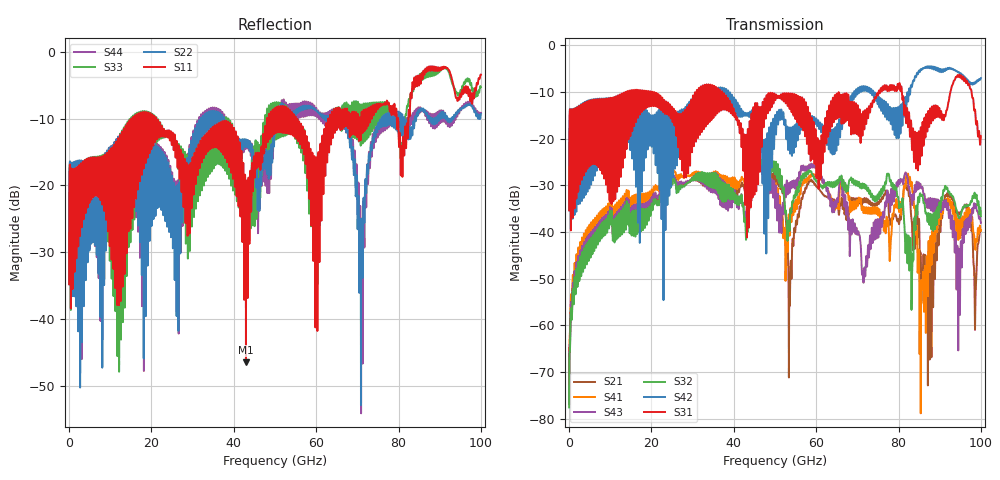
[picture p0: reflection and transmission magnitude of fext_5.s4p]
# Hz S RI R 50
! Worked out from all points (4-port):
!   10000 points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, 10 MHz to 100 GHz, reference 50 ohm
!   strongest paths, dB at 10 MHz, 25.01 GHz, 50.01 GHz, 75.01 GHz, 100 GHz:
!     S31: -35.3, -14.2, -11.6, -10.7, -19.5
!     S42: -35.3, -14.4, -15.0, -11.9, -7.0
!     S32: -77.6, -29.5, -27.6, -32.1, -36.6
!     S43: -76.9, -28.7, -33.9, -39.7, -38.0
!     S41: -75.8, -27.8, -31.5, -35.9, -39.6
!     S21: -76.8, -29.5, -29.2, -33.5, -39.6
!   lowest |S11| = -46.5 dB at 42.95 GHz (marker M1), VSWR 1.01, Z = 49.5 - j0.0805 ohm
!   |S11| at or under -10 dB: start of sweep to 15.11 GHz; 21.17 GHz to 48.05 GHz (26.89 GHz wide, 77.7 % of centre); 55.02 GHz to 62.91 GHz (7.887 GHz wide, 13.4 % of centre)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
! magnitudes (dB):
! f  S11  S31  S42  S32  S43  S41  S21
! 10 MHz  -34.8  -35.3  -35.3  -77.6  -76.9  -75.8  -76.8
! 9.91 GHz  -24.2  -19.6  -17.0  -35.4  -34.7  -33.1  -34.6
! 42.95 GHz  -46.5  -19.4  -14.9  -41.6  -37.1  -30.4  -32.0
! 53.62 GHz  -8.8  -13.0  -22.4  -37.2  -30.1  -38.2  -55.4
! 70.88 GHz  -12.2  -16.9  -9.9  -29.9  -43.7  -33.2  -33.6
! 85.53 GHz  -3.6  -20.4  -5.3  -32.2  -30.5  -51.3  -54.9
! 100 GHz  -3.4  -19.5  -7.0  -36.6  -38.0  -39.6  -39.6
